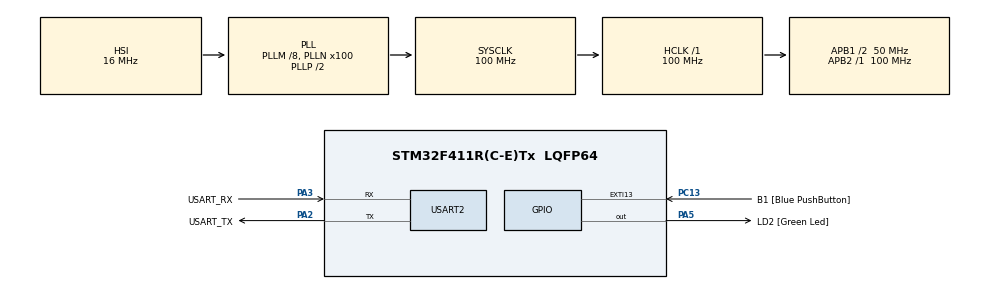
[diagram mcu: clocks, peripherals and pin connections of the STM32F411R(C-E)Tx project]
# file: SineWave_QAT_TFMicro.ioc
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Mcu.Family=STM32F4
Mcu.Name=STM32F411R(C-E)Tx
Mcu.Package=LQFP64
NVIC.PriorityGroup=NVIC_PRIORITYGROUP_0
PA13.GPIO_Label=TMS
PA13.Mode=Serial_Wire
PA13.Signal=SYS_JTMS-SWDIO
PA14.GPIO_Label=TCK
PA14.Mode=Serial_Wire
PA14.Signal=SYS_JTCK-SWCLK
PA2.GPIO_Label=USART_TX
PA2.Mode=Asynchronous
PA2.Signal=USART2_TX
PA3.GPIO_Label=USART_RX
PA3.Mode=Asynchronous
PA3.Signal=USART2_RX
PA5.GPIO_Label=LD2 [Green Led]
PA5.Signal=GPIO_Output
PB3.GPIO_Label=SWO
PB3.Signal=SYS_JTDO-SWO
PC13-ANTI_TAMP.GPIO_Label=B1 [Blue PushButton]
PC13-ANTI_TAMP.GPIO_ModeDefaultEXTI=GPIO_MODE_IT_FALLING
PC13-ANTI_TAMP.Signal=GPXTI13
PC14-OSC32_IN.Mode=LSE-External-Oscillator
PC14-OSC32_IN.Signal=RCC_OSC32_IN
PC15-OSC32_OUT.Mode=LSE-External-Oscillator
PC15-OSC32_OUT.Signal=RCC_OSC32_OUT
PH0\ -\ OSC_IN.Mode=HSE-External-Clock-Source
PH0\ -\ OSC_IN.Signal=RCC_OSC_IN
PH1\ -\ OSC_OUT.Mode=HSE-External-Clock-Source
PH1\ -\ OSC_OUT.Signal=RCC_OSC_OUT
ProjectManager.HeapSize=0x800
ProjectManager.StackSize=0x1000
ProjectManager.TargetToolchain=STM32CubeIDE
RCC.48MHZClocksFreq_Value=50000000
RCC.AHBFreq_Value=100000000
RCC.APB1CLKDivider=RCC_HCLK_DIV2
RCC.APB1Freq_Value=50000000
RCC.APB1TimFreq_Value=100000000
RCC.APB2Freq_Value=100000000
RCC.APB2TimFreq_Value=100000000
RCC.CortexFreq_Value=100000000
RCC.FLatency-AdvancedSettings=FLASH_LATENCY_3
RCC.HCLKFreq_Value=100000000
RCC.HSE_VALUE=8000000
RCC.HSI_VALUE=16000000
RCC.PLLM=8
RCC.PLLN=100
RCC.SYSCLKFreq_VALUE=100000000
RCC.SYSCLKSource=RCC_SYSCLKSOURCE_PLLCLK
RCC.VCOOutputFreq_Value=200000000
STMicroelectronics.X-CUBE-AI.7.3.0.ActivationBufferSizeList=2048
STMicroelectronics.X-CUBE-AI.7.3.0.ActivationBuffers=NULL
STMicroelectronics.X-CUBE-AI.7.3.0.HeapSize=0x800
STMicroelectronics.X-CUBE-AI.7.3.0.InternalRamActivationBufferMaxSize=AI_QUANTIZED_SINE_WAVE_DATA_ACTIVATIONS_SIZE
STMicroelectronics.X-CUBE-AI.7.3.0.LatestDirectoryUsed-30b3c20b6bcfe9edd14f56ac730ab2cc9f0b2dbc891124c8a93c52247ba4c4e3=C\:\\Users\\ezque\\JUPYTER\\TinyML\\X-Cube-AI\\SineWave
STMicroelectronics.X-CUBE-AI.7.3.0.MaximumNumberOfInputLayer=1
STMicroelectronics.X-CUBE-AI.7.3.0.MaximumNumberOfOutputLayer=1
STMicroelectronics.X-CUBE-AI.7.3.0.ModelActualCompression-30b3c20b6bcfe9edd14f56ac730ab2cc9f0b2dbc891124c8a93c52247ba4c4e3=0.0
STMicroelectronics.X-CUBE-AI.7.3.0.ModelCompression-30b3c20b6bcfe9edd14f56ac730ab2cc9f0b2dbc891124c8a93c52247ba4c4e3=None
STMicroelectronics.X-CUBE-AI.7.3.0.ModelFlashOccupation-30b3c20b6bcfe9edd14f56ac730ab2cc9f0b2dbc891124c8a93c52247ba4c4e3=3472
STMicroelectronics.X-CUBE-AI.7.3.0.ModelHashList=30b3c20b6bcfe9edd14f56ac730ab2cc9f0b2dbc891124c8a93c52247ba4c4e3
STMicroelectronics.X-CUBE-AI.7.3.0.ModelKind-30b3c20b6bcfe9edd14f56ac730ab2cc9f0b2dbc891124c8a93c52247ba4c4e3=TFLITE
STMicroelectronics.X-CUBE-AI.7.3.0.ModelMacc-30b3c20b6bcfe9edd14f56ac730ab2cc9f0b2dbc891124c8a93c52247ba4c4e3=-1
STMicroelectronics.X-CUBE-AI.7.3.0.ModelName-30b3c20b6bcfe9edd14f56ac730ab2cc9f0b2dbc891124c8a93c52247ba4c4e3=quantized_sine_wave
STMicroelectronics.X-CUBE-AI.7.3.0.ModelNameList=quantized_sine_wave
STMicroelectronics.X-CUBE-AI.7.3.0.ModelRamOccupation-30b3c20b6bcfe9edd14f56ac730ab2cc9f0b2dbc891124c8a93c52247ba4c4e3=2048
STMicroelectronics.X-CUBE-AI.7.3.0.ModelStructureFile-30b3c20b6bcfe9edd14f56ac730ab2cc9f0b2dbc891124c8a93c52247ba4c4e3=C\:\\Users\\ezque\\JUPYTER\\TinyML\\X-Cube-AI\\SineWave\\quantized_sine_model.tflite
STMicroelectronics.X-CUBE-AI.7.3.0.ModelType-30b3c20b6bcfe9edd14f56ac730ab2cc9f0b2dbc891124c8a93c52247ba4c4e3=TFLite Micro runtime
STMicroelectronics.X-CUBE-AI.7.3.0.ReadyForCodeGeneration=true
STMicroelectronics.X-CUBE-AI.7.3.0.StackSize=0x1000
STMicroelectronics.X-CUBE-AI.7.3.0.WorkingBufferStartAddrList=0xFFFFFFFF
STMicroelectronics.X-CUBE-AI.7.3.0.XAaCUBEAaAICcArtificialOoIntelligenceJjCore=true
STMicroelectronics.X-CUBE-AI.7.3.0.copyWeightToRam=false
STMicroelectronics.X-CUBE-AI.7.3.0.copyWeightToRam-30b3c20b6bcfe9edd14f56ac730ab2cc9f0b2dbc891124c8a93c52247ba4c4e3=false
STMicroelectronics.X-CUBE-AI.7.3.0.customLayerConfigEnabled=false
STMicroelectronics.X-CUBE-AI.7.3.0.customLayerConfigEnabled-30b3c20b6bcfe9edd14f56ac730ab2cc9f0b2dbc891124c8a93c52247ba4c4e3=false
STMicroelectronics.X-CUBE-AI.7.3.0.tfliteruntime=true
STMicroelectronics.X-CUBE-AI.7.3.0.useInputAllocation=true
STMicroelectronics.X-CUBE-AI.7.3.0.useInputAllocation-30b3c20b6bcfe9edd14f56ac730ab2cc9f0b2dbc891124c8a93c52247ba4c4e3=true
STMicroelectronics.X-CUBE-AI.7.3.0.useOutputAllocation=true
STMicroelectronics.X-CUBE-AI.7.3.0.useOutputAllocation-30b3c20b6bcfe9edd14f56ac730ab2cc9f0b2dbc891124c8a93c52247ba4c4e3=true
TIM4.Prescaler=100-1
USART2.VirtualMode=VM_ASYNC
VP_CRC_VS_CRC.Mode=CRC_Activate
VP_STMicroelectronics.X-CUBE-AI_VS_ArtificialOoIntelligenceJjXAaCUBEAaAI_7.3.0.Mode=ArtificialOoIntelligenceJjXAaCUBEAaAI
VP_TIM4_VS_ClockSourceINT.Mode=Internal
board=NUCLEO-F411RE

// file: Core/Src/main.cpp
/* USER CODE BEGIN Header */
/**
  ******************************************************************************
  * @file           : main.c
  * @brief          : Main program body
  ******************************************************************************
  * @attention
  *
  * Copyright (c) 2022 STMicroelectronics.
  * All rights reserved.
  *
  * This software is licensed under terms that can be found in the LICENSE file
  * in the root directory of this software component.
  * If no LICENSE file comes with this software, it is provided AS-IS.
  *
  ******************************************************************************
  */
/* USER CODE END Header */
#include "main.h"

/* USER CODE BEGIN Includes */
#include <string.h>

#include "tensorflow/lite/micro/kernels/micro_ops.h"
#include "tensorflow/lite/micro/micro_error_reporter.h"
#include "tensorflow/lite/micro/micro_interpreter.h"
#include "tensorflow/lite/micro/micro_mutable_op_resolver.h"
#include "tensorflow/lite/micro/micro_op_resolver.h"

#include "quantized_sine_model.h"
/* USER CODE END Includes */

CRC_HandleTypeDef hcrc;

TIM_HandleTypeDef htim4;

UART_HandleTypeDef huart2;

/* USER CODE BEGIN PV */

// TFLite Globals
namespace {
	tflite::ErrorReporter* error_reporter = nullptr;
	const tflite::Model* model = nullptr;
	tflite::MicroInterpreter* interpreter = nullptr;
	TfLiteTensor* model_input = nullptr;
	TfLiteTensor* model_output = nullptr;

	// Create an area of memory to use for input, output, and other TensorFLow arrays.
	// You will need to adjust this by compiling, running, and lookingg for errors
	constexpr int kTensorArenaSize = 2 * 1024;
	__attribute__((aligned(16)))uint8_t tensor_arena[kTensorArenaSize];
} // namespace

/* USER CODE END PV */

void SystemClock_Config(void);
static void MX_GPIO_Init(void);
static void MX_USART2_UART_Init(void);
static void MX_CRC_Init(void);
static void MX_TIM4_Init(void);

int main(void)
{
  /* USER CODE BEGIN 1 */

	char buf[50];
	int buf_len = 0;
	TfLiteStatus tflite_status;
	uint32_t num_elements;
	uint32_t timestamp;
	float y_val;

  /* USER CODE END 1 */

  /* MCU Configuration--------------------------------------------------------*/

  /* Reset of all peripherals, Initializes the Flash interface and the Systick. */
  HAL_Init();

  /* Configure the system clock */
  SystemClock_Config();

  /* Initialize all configured peripherals */
  MX_GPIO_Init();
  MX_USART2_UART_Init();
  MX_CRC_Init();
  MX_TIM4_Init();
  /* USER CODE BEGIN 2 */

  // Start timer/counter
  HAL_TIM_Base_Start(&htim4);

  // Set up logging (modify tensorflow/lite/micro/debug_log.cc)
  static tflite::MicroErrorReporter micro_error_reporter;
  error_reporter = &micro_error_reporter;

  // Say somethng to test error reporter
  error_reporter->Report("STM32 TensorFlow Lite test");

  // Map the model into a usable data structure
  model = tflite::GetModel(quantized_sine_model);
  if (model->version() != TFLITE_SCHEMA_VERSION){
	  error_reporter->Report("Model version does not match Schema");
	  while(1);
  }

  // Pull in only needed operations (should match NN layers). Tamplate parameter <n> is number of ops to be added. Available ops:
  // tensorflow/lite/micro/kernels/micro_ops.h
  static tflite::MicroMutableOpResolver<3> micro_op_resolver;

  // Add dense neural network layer operation
//  tflite_status = micro_op_resolver.AddBuiltin(tflite::BuiltinOperator_FULLY_CONNECTED,
//		  	  	  	  	  	  	  	  	  	   tflite::Register_FULLY_CONNECTED(),
//											   tflite::MicroOpResolver ParseFullyConnected);

  tflite_status = micro_op_resolver.AddQuantize();
  if (tflite_status != kTfLiteOk){
	  error_reporter->Report("Could not add QUANTIZE op");
	  while(1);
  }

  tflite_status = micro_op_resolver.AddFullyConnected();
  if (tflite_status != kTfLiteOk){
	  error_reporter->Report("Could not add FULLY CONNECTED op");
	  while(1);
  }

  tflite_status = micro_op_resolver.AddDequantize();
  if (tflite_status != kTfLiteOk){
	  error_reporter->Report("Could not add DEQUANTIZE op");
	  while(1);
  }

  // Run an interpreter to run the model with
  static tflite::MicroInterpreter static_interpreter(model, micro_op_resolver, tensor_arena, kTensorArenaSize, error_reporter);
  interpreter = &static_interpreter;

  // Allocate memory from the tensor_srena for the model's tensors
  tflite_status = interpreter->AllocateTensors();
  if (tflite_status != kTfLiteOk){
	  error_reporter->Report("AllocateTensors() failed");
	  while(1);
  }

  // Assign model input and output buffers (tensors) to pointers
  model_input = interpreter->input(0);
  model_output = interpreter->output(0);

  // Get number of elements in input tensor
  num_elements = model_input->bytes / sizeof(float);
  buf_len = sprintf(buf, "Number of input elements: %lu\r\n", num_elements);
  HAL_UART_Transmit(&huart2, (uint8_t*)buf, buf_len, 100);

  /* USER CODE END 2 */

  /* Infinite loop */
  /* USER CODE BEGIN WHILE */
  while (1)
  {
	  HAL_GPIO_TogglePin(LD2_GPIO_Port, LD2_Pin);
	  // Fill input buffer (use test value)
	  for (uint32_t i=0; i<num_elements; i++){
		  model_input->data.f[i] = 3.14159f / 2.0f;
	  }

	  // Get current timestamp
	  timestamp = htim4.Instance->CNT;

	  //Run inference
	  tflite_status = interpreter->Invoke();
	  if (tflite_status != kTfLiteOk){
		  error_reporter->Report("Invoke failed");
	  }

	  // Read output (predicted y) of neural network
	  y_val = model_output->data.f[0];

	  // Pint output of neural network along with inference time (microseconds)
	  buf_len = sprintf(buf, "Output: %f | Duration: %lu us\r\n", y_val, (htim4.Instance->CNT - timestamp));
	  HAL_UART_Transmit(&huart2, (uint8_t*)buf, buf_len, 100);

	  HAL_Delay(500);

    /* USER CODE END WHILE */

  }
}

void SystemClock_Config(void)
{
  RCC_OscInitTypeDef RCC_OscInitStruct = {0};
  RCC_ClkInitTypeDef RCC_ClkInitStruct = {0};

  /** Configure the main internal regulator output voltage
  */
  __HAL_RCC_PWR_CLK_ENABLE();
  __HAL_PWR_VOLTAGESCALING_CONFIG(PWR_REGULATOR_VOLTAGE_SCALE1);

  /** Initializes the RCC Oscillators according to the specified parameters
  * in the RCC_OscInitTypeDef structure.
  */
  RCC_OscInitStruct.OscillatorType = RCC_OSCILLATORTYPE_HSI;
  RCC_OscInitStruct.HSIState = RCC_HSI_ON;
  RCC_OscInitStruct.HSICalibrationValue = RCC_HSICALIBRATION_DEFAULT;
  RCC_OscInitStruct.PLL.PLLState = RCC_PLL_ON;
  RCC_OscInitStruct.PLL.PLLSource = RCC_PLLSOURCE_HSI;
  RCC_OscInitStruct.PLL.PLLM = 8;
  RCC_OscInitStruct.PLL.PLLN = 100;
  RCC_OscInitStruct.PLL.PLLP = RCC_PLLP_DIV2;
  RCC_OscInitStruct.PLL.PLLQ = 4;
  if (HAL_RCC_OscConfig(&RCC_OscInitStruct) != HAL_OK)
  {
    Error_Handler();
  }

  /** Initializes the CPU, AHB and APB buses clocks
  */
  RCC_ClkInitStruct.ClockType = RCC_CLOCKTYPE_HCLK|RCC_CLOCKTYPE_SYSCLK
                              |RCC_CLOCKTYPE_PCLK1|RCC_CLOCKTYPE_PCLK2;
  RCC_ClkInitStruct.SYSCLKSource = RCC_SYSCLKSOURCE_PLLCLK;
  RCC_ClkInitStruct.AHBCLKDivider = RCC_SYSCLK_DIV1;
  RCC_ClkInitStruct.APB1CLKDivider = RCC_HCLK_DIV2;
  RCC_ClkInitStruct.APB2CLKDivider = RCC_HCLK_DIV1;

  if (HAL_RCC_ClockConfig(&RCC_ClkInitStruct, FLASH_LATENCY_3) != HAL_OK)
  {
    Error_Handler();
  }
}

static void MX_CRC_Init(void)
{

  hcrc.Instance = CRC;
  if (HAL_CRC_Init(&hcrc) != HAL_OK)
  {
    Error_Handler();
  }

}

static void MX_TIM4_Init(void)
{

  TIM_ClockConfigTypeDef sClockSourceConfig = {0};
  TIM_MasterConfigTypeDef sMasterConfig = {0};

  htim4.Instance = TIM4;
  htim4.Init.Prescaler = 100-1;
  htim4.Init.CounterMode = TIM_COUNTERMODE_UP;
  htim4.Init.Period = 65535;
  htim4.Init.ClockDivision = TIM_CLOCKDIVISION_DIV1;
  htim4.Init.AutoReloadPreload = TIM_AUTORELOAD_PRELOAD_DISABLE;
  if (HAL_TIM_Base_Init(&htim4) != HAL_OK)
  {
    Error_Handler();
  }
  sClockSourceConfig.ClockSource = TIM_CLOCKSOURCE_INTERNAL;
  if (HAL_TIM_ConfigClockSource(&htim4, &sClockSourceConfig) != HAL_OK)
  {
    Error_Handler();
  }
  sMasterConfig.MasterOutputTrigger = TIM_TRGO_RESET;
  sMasterConfig.MasterSlaveMode = TIM_MASTERSLAVEMODE_DISABLE;
  if (HAL_TIMEx_MasterConfigSynchronization(&htim4, &sMasterConfig) != HAL_OK)
  {
    Error_Handler();
  }

}

static void MX_USART2_UART_Init(void)
{

  huart2.Instance = USART2;
  huart2.Init.BaudRate = 115200;
  huart2.Init.WordLength = UART_WORDLENGTH_8B;
  huart2.Init.StopBits = UART_STOPBITS_1;
  huart2.Init.Parity = UART_PARITY_NONE;
  huart2.Init.Mode = UART_MODE_TX_RX;
  huart2.Init.HwFlowCtl = UART_HWCONTROL_NONE;
  huart2.Init.OverSampling = UART_OVERSAMPLING_16;
  if (HAL_UART_Init(&huart2) != HAL_OK)
  {
    Error_Handler();
  }

}

static void MX_GPIO_Init(void)
{
  GPIO_InitTypeDef GPIO_InitStruct = {0};

  /* GPIO Ports Clock Enable */
  __HAL_RCC_GPIOC_CLK_ENABLE();
  __HAL_RCC_GPIOH_CLK_ENABLE();
  __HAL_RCC_GPIOA_CLK_ENABLE();
  __HAL_RCC_GPIOB_CLK_ENABLE();

  /*Configure GPIO pin Output Level */
  HAL_GPIO_WritePin(LD2_GPIO_Port, LD2_Pin, GPIO_PIN_RESET);

  /*Configure GPIO pin : B1_Pin */
  GPIO_InitStruct.Pin = B1_Pin;
  GPIO_InitStruct.Mode = GPIO_MODE_IT_FALLING;
  GPIO_InitStruct.Pull = GPIO_NOPULL;
  HAL_GPIO_Init(B1_GPIO_Port, &GPIO_InitStruct);

  /*Configure GPIO pin : LD2_Pin */
  GPIO_InitStruct.Pin = LD2_Pin;
  GPIO_InitStruct.Mode = GPIO_MODE_OUTPUT_PP;
  GPIO_InitStruct.Pull = GPIO_NOPULL;
  GPIO_InitStruct.Speed = GPIO_SPEED_FREQ_LOW;
  HAL_GPIO_Init(LD2_GPIO_Port, &GPIO_InitStruct);

}

/* USER CODE BEGIN 4 */

// Custom implementation of DebugLog from TensorFlow
extern "C" void DebugLog(const char* s){
	HAL_UART_Transmit(&huart2, (uint8_t *) s, strlen(s), 100);
}

/* USER CODE END 4 */

void Error_Handler(void)
{
  __disable_irq();
  while (1)
  {
  }
}
